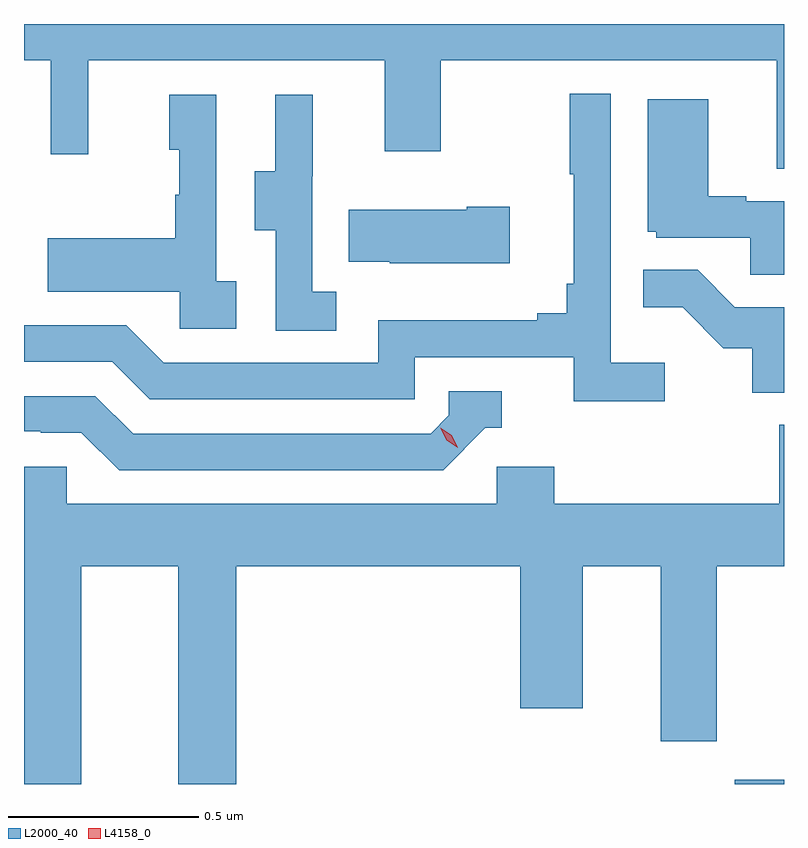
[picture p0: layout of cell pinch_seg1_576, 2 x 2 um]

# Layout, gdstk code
import gdstk
lib = gdstk.Library(unit=1e-6, precision=1e-09)
def R(c, l, rs):  # rectangles x0, y0, x1, y1
    for r in rs: c.add(gdstk.rectangle(r[:2], r[2:], *l))
def P(c, l, *ps):  # polygons
    for p in ps: c.add(gdstk.Polygon(p, *l))
L2000_40 = (2000, 40)
L4158_0 = (4158, 0)

pinch_seg1_576 = lib.new_cell('pinch_seg1_576')
R(pinch_seg1_576, L2000_40, [(1064.672,521.855,1064.802,521.866)])
P(pinch_seg1_576, L2000_40, [(1064.802,523.855),(1062.802,523.855),(1062.802,523.76),(1062.873,523.76),(1062.873,523.512),(1062.971,523.512),(1062.971,523.76),(1063.751,523.76),(1063.751,523.52),(1063.899,523.52),(1063.899,523.76),(1064.783,523.76),(1064.783,523.474),(1064.802,523.474)],
  [(1064.488,522.964),(1064.346,522.964),(1064.346,523.672),(1064.238,523.672),(1064.238,523.459),(1064.249,523.459),(1064.249,523.171),(1064.23,523.171),(1064.23,523.094),(1064.153,523.094),(1064.153,523.075),(1063.734,523.075),(1063.734,522.963),(1063.17,522.963),(1063.071,523.062),(1062.802,523.062),(1062.802,522.966),(1063.034,522.966),(1063.133,522.867),(1063.83,522.867),(1063.83,522.978),(1064.249,522.978),(1064.249,522.862),(1064.488,522.862)],
  [(1063.36,523.178),(1063.308,523.178),(1063.308,523.669),(1063.184,523.669),(1063.184,523.524),(1063.21,523.524),(1063.21,523.406),(1063.2,523.406),(1063.2,523.291),(1062.865,523.291),(1062.865,523.151),(1063.212,523.151),(1063.212,523.053),(1063.36,523.053)],
  [(1063.624,523.151),(1063.56,523.151),(1063.56,523.455),(1063.562,523.455),(1063.562,523.669),(1063.463,523.669),(1063.463,523.467),(1063.409,523.467),(1063.409,523.312),(1063.464,523.312),(1063.464,523.048),(1063.624,523.048)],
  [(1064.802,523.389),(1064.702,523.389),(1064.702,523.402),(1064.602,523.402),(1064.602,523.657),(1064.444,523.657),(1064.444,523.308),(1064.466,523.308),(1064.466,523.293),(1064.713,523.293),(1064.713,523.195),(1064.802,523.195)],
  [(1064.08,523.374),(1063.967,523.374),(1063.967,523.366),(1063.657,523.366),(1063.657,523.229),(1063.765,523.229),(1063.765,523.226),(1064.08,523.226)],
  [(1064.802,523.11),(1064.673,523.11),(1064.575,523.208),(1064.431,523.208),(1064.431,523.109),(1064.535,523.109),(1064.642,523.002),(1064.719,523.002),(1064.719,522.885),(1064.802,522.885)],
  [(1064.016,522.792),(1064.059,522.792),(1064.059,522.888),(1063.92,522.888),(1063.92,522.825),(1063.872,522.777),(1063.089,522.777),(1062.99,522.876),(1062.802,522.876),(1062.802,522.783),(1062.846,522.783),(1062.846,522.78),(1062.953,522.78),(1063.052,522.681),(1063.905,522.681)],
  [(1062.952,522.428),(1063.208,522.428),(1063.208,521.855),(1063.361,521.855),(1063.361,522.428),(1064.108,522.428),(1064.108,522.054),(1064.272,522.054),(1064.272,522.428),(1064.477,522.428),(1064.477,521.967),(1064.625,521.967),(1064.625,522.428),(1064.802,522.428),(1064.802,522.8),(1064.789,522.8),(1064.789,522.592),(1064.198,522.592),(1064.198,522.69),(1064.046,522.69),(1064.046,522.592),(1062.915,522.592),(1062.915,522.69),(1062.802,522.69),(1062.802,521.855),(1062.952,521.855)])
P(pinch_seg1_576, L4158_0, [(1063.944,522.74),(1063.914,522.759),(1063.897,522.792),(1063.897,522.792),(1063.898,522.792),(1063.928,522.773),(1063.944,522.74),(1063.944,522.74)])

lib.write_gds('pinch_seg1_576.gds')
